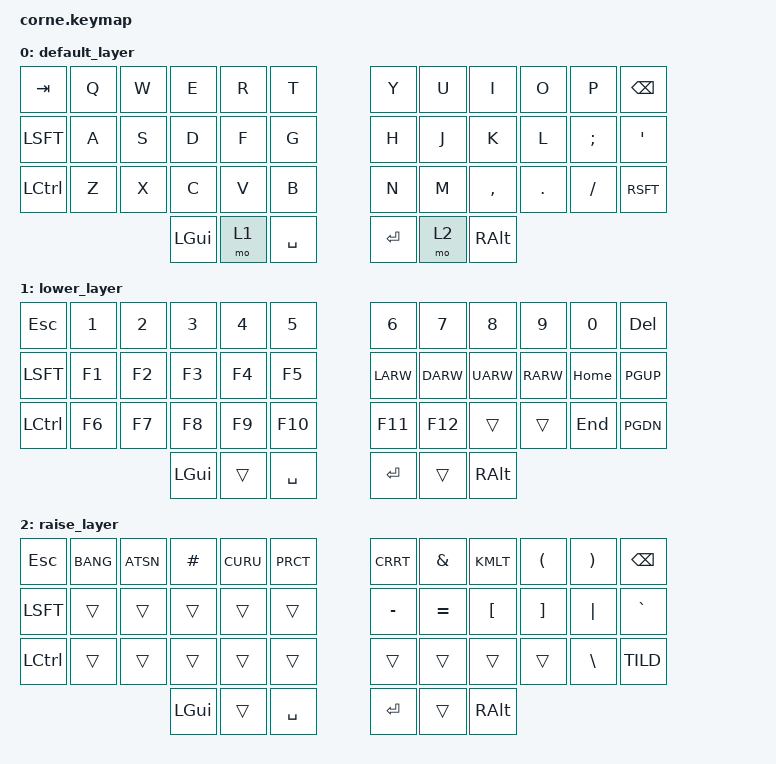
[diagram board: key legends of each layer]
#include <behaviors.dtsi>
#include <dt-bindings/zmk/keys.h>

/ {
        keymap {
                compatible = "zmk,keymap";

                default_layer {
// -----------------------------------------------------------------------------------------
// |  TAB |  Q  |  W  |  E  |  R  |  T  |   |  Y  |  U   |  I  |  O  |  P  | BKSP |
// | CTRL |  A  |  S  |  D  |  F  |  G  |   |  H  |  J   |  K  |  L  |  ;  |  '   |
// | SHFT |  Z  |  X  |  C  |  V  |  B  |   |  N  |  M   |  ,  |  .  |  /  | SHFT |
//                    | GUI | LWR | SPC |   | ENT | RSE  | ALT |
                        bindings = <
   &kp TAB  &kp Q &kp W &kp E &kp R &kp T   &kp Y &kp U  &kp I    &kp O   &kp P    &kp BKSP
   &kp LSFT &kp A &kp S &kp D &kp F &kp G   &kp H &kp J  &kp K    &kp L   &kp SCLN &kp QUOT
   &kp LCTL &kp Z &kp X &kp C &kp V &kp B   &kp N &kp M  &kp CMMA &kp DOT &kp FSLH &kp RSFT
                   &kp LGUI &mo 1 &kp SPC   &kp RET &mo 2 &kp RALT
                        >;
                };
                lower_layer {
// -----------------------------------------------------------------------------------------
// |  ESC |  1  |  2  |  3  |  4  |  5  |   |  6  |  7  |  8  |  9  |  0  | BKSP |
// | CTRL |     |     |     |     |     |   | LFT | DWN |  UP | RGT |     |      |
// | SHFT |     |     |     |     |     |   |     |     |     |     |     |      |
//                    | GUI |     | SPC |   | ENT |     | ALT |
                        bindings = <
   &kp ESC  &kp NUM_1 &kp NUM_2 &kp NUM_3 &kp NUM_4 &kp NUM_5   &kp NUM_6 &kp NUM_7 &kp NUM_8 &kp NUM_9 &kp NUM_0 &kp DEL
   &kp LSFT &kp F1    &kp F2    &kp F3    &kp F4    &kp F5      &kp LARW  &kp DARW  &kp UARW  &kp RARW  &kp HOME  &kp PGUP
   &kp LCTL &kp F6    &kp F7    &kp F8    &kp F9    &kp F10     &kp F11   &kp F12   &trans    &trans    &kp END   &kp PGDN
                                      &kp LGUI &trans &kp SPC   &kp RET &trans &kp RALT
                        >;
                };

                raise_layer {
// -----------------------------------------------------------------------------------------
// |  ESC |  !  |  @  |  #  |  $  |  %  |   |  ^  |  &  |  *  |  (  |  )  | BKSP |
// | CTRL |     |     |     |     |     |   |  -  |  =  |  {  |  }  | "|" |  `   |
// | SHFT |     |     |     |     |     |   |  _  |  +  |  [  |  ]  |  \  |  ~   | // TODO: Fix this row when &mkp is committed
//                    | GUI |     | SPC |   | ENT |     | ALT |
                        bindings = <
   &kp  ESC &kp BANG  &kp ATSN  &kp HASH  &kp CURU  &kp PRCT    &kp CRRT  &kp AMPS &kp KMLT &kp LPRN &kp RPRN &kp BKSP
   &kp LSFT &trans    &trans    &trans    &trans    &trans      &kp MINUS &kp EQL  &kp LBKT &kp RBKT &kp PIPE &kp GRAV
   &kp LCTL &trans    &trans    &trans    &trans    &trans      &trans    &trans   &trans   &trans   &kp BSLH &kp TILD
                                      &kp LGUI &trans &kp SPC   &kp RET &trans &kp RALT 
                        >;
                };
        };
};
